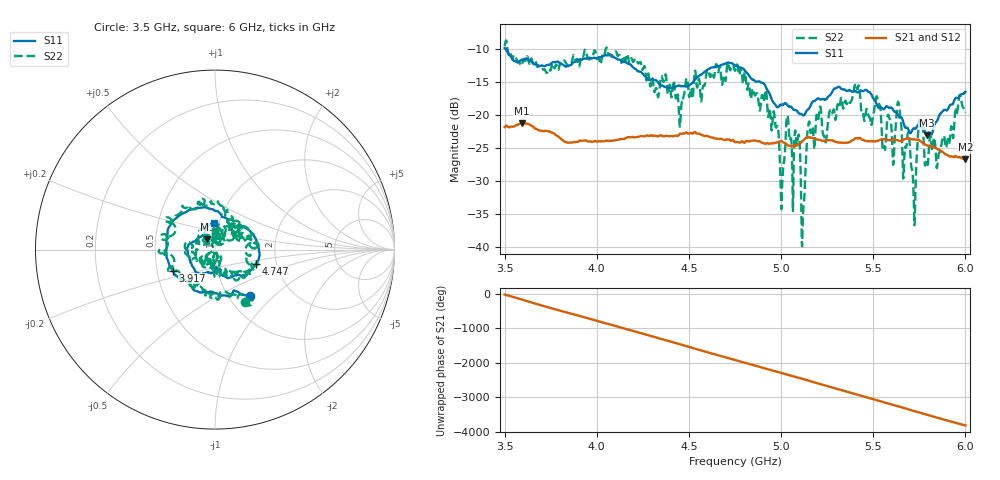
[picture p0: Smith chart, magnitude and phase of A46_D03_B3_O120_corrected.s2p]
! Created with skrf 1.9.0 (http://scikit-rf.org).
# Hz S RI R 50.0
!freq ReS11 ImS11 ReS21 ImS21 ReS12 ImS12 ReS22 ImS22
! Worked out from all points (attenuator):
!   1601 points, 3.5 GHz to 6 GHz, reference 50 ohm
!   highest |S21| = -21.23 dB at 3.592 GHz (marker M1); lowest = -26.7 dB at 6 GHz (marker M2)
!   lowest |S11| = -23.0 dB at 5.791 GHz (marker M3), VSWR 1.15, Z = 45.7 + j5.22 ohm
!   |S11| at or under -10 dB: 3.506 GHz to end of sweep
!   |S22| runs from -39.9 to -8.7 dB; largest |S21 - S12| = 0.001
!   S11 on the Smith chart (normalised r, x): 3.5 GHz: 1.25, -0.72; 3.917 GHz: 0.60, -0.15; 4.747 GHz: 1.56, -0.26; 6 GHz: 0.94, +0.29
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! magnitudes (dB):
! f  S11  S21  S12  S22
! 3.5 GHz  -9.8  -21.8  -21.8  -9.5
! 3.592 GHz  -11.6  -21.2  -21.2  -12.4
! 3.917 GHz  -11.6  -23.9  -23.9  -11.0
! 4.334 GHz  -15.1  -23.2  -23.1  -17.2
! 4.747 GHz  -12.4  -24.0  -23.9  -13.1
! 4.75 GHz  -12.5  -24.1  -24.0  -13.3
! 4.969 GHz  -18.4  -24.2  -24.1  -21.4
! 5.005 GHz  -18.4  -24.0  -24.0  -31.6
! 5.034 GHz  -18.5  -24.6  -24.5  -20.1
! 5.088 GHz  -19.4  -24.6  -24.5  -24.3
! 5.119 GHz  -20.0  -23.8  -23.8  -35.3
! 5.145 GHz  -19.1  -23.3  -23.3  -21.9
! 5.167 GHz  -18.1  -23.4  -23.4  -21.9
! 5.411 GHz  -16.5  -23.5  -23.4  -15.8
! 5.527 GHz  -18.8  -23.8  -23.8  -18.1
! 5.558 GHz  -19.1  -23.6  -23.6  -24.6
! 5.584 GHz  -18.9  -23.8  -23.7  -20.0
! 5.639 GHz  -20.2  -23.9  -23.8  -18.4
! 5.719 GHz  -22.0  -23.7  -23.6  -31.8
! 5.755 GHz  -21.8  -23.9  -23.9  -20.9
! 5.791 GHz  -23.0  -24.6  -24.5  -27.1
! 6 GHz  -16.5  -26.7  -26.6  -19.7
